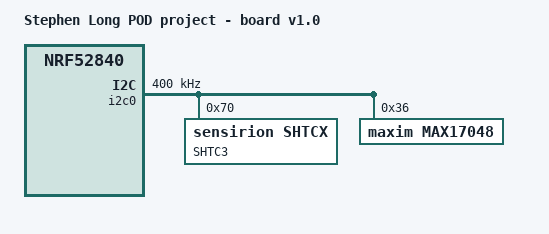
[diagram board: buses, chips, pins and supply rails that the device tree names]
/dts-v1/;
#include <nordic/nrf52840_qiaa.dtsi>
#include "POD_v1-pinctrl.dtsi"

/ {
	model = "Stephen Long POD project - board v1.0";
	compatible = "StephenLong,POD-v1";

	chosen {
		zephyr,sram = &sram0;
		zephyr,flash = &flash0;
		zephyr,code-partition = &slot0_partition;
	};
};

&flash0 {
	partitions {
		compatible = "fixed-partitions";
		#address-cells = <1>;
		#size-cells = <1>;

		boot_partition: partition@0 {
			label = "mcuboot";
			reg = <0x00000000 DT_SIZE_K(48)>;
		};

		slot0_partition: partition@c000 {
			label = "image-0";
			reg = <0x0000c000 DT_SIZE_K(472)>;
		};

		slot1_partition: partition@82000 {
			label = "image-1";
			reg = <0x00082000 DT_SIZE_K(472)>;
		};

		storage_partition: partition@f8000 {
			label = "storage";
			reg = <0x000f8000 DT_SIZE_K(32)>;
		};
	};
};
&usbd {
	status = "disabled";
};

&gpiote {
	status = "okay";
};

&systick {
	status = "disabled";
};

&i2c0 {
	status = "okay";
	compatible = "nordic,nrf-twim";
	pinctrl-0 = <&i2c0_default>;
	pinctrl-names = "default";
	clock-frequency = <I2C_BITRATE_FAST>;
	label = "I2C_0";
	shtc3@70 {
		compatible = "sensirion,shtcx";
		reg = <0x70>;
		measure-mode = "normal";
		clock-stretching;
		label = "SHTC3";
        status = "okay";
	};

	max17048:max17048@36 {
		compatible = "maxim,max17048";
		reg = <0x36>;
		// // irq-gpios = <&gpio1 8 (GPIO_ACTIVE_LOW)>;  // ALERT pin
		// // // interrupts-extended = <&gpio1 8 GPIO_ACTIVE_LOW>;
		// interrupt-parent = <&gpiote>;  // or <&gpio0> or <&nvic> depending on source
        // interrupts = <8 1>; // pin 8, edge trigger or mode (see below)
		label = "MAX17048";
        status = "okay";
	};
};

&gpio0 {
	status = "okay";
};

&gpio1 {
	label = "GPIO_1";
	status = "okay";
};

